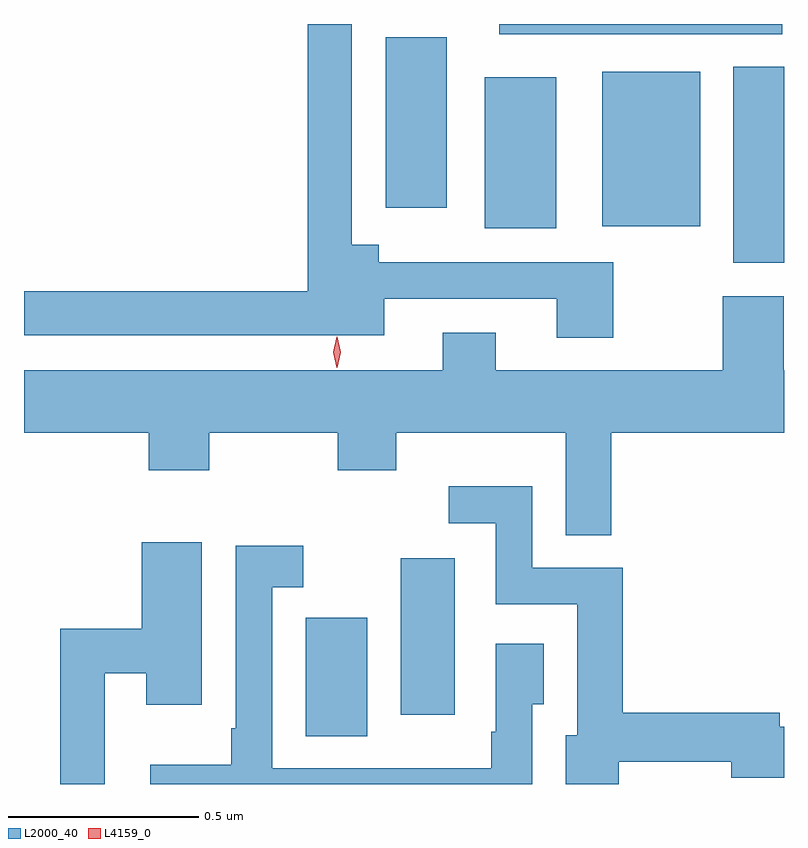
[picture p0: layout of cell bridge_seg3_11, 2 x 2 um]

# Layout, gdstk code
import gdstk
lib = gdstk.Library(unit=1e-6, precision=1e-09)
def R(c, l, rs):  # rectangles x0, y0, x1, y1
    for r in rs: c.add(gdstk.rectangle(r[:2], r[2:], *l))
def P(c, l, *ps):  # polygons
    for p in ps: c.add(gdstk.Polygon(p, *l))
L2000_40 = (2000, 40)
L4159_0 = (4159, 0)

bridge_seg3_11 = lib.new_cell('bridge_seg3_11')
R(bridge_seg3_11, L2000_40, [(687.035,710.773,687.196,711.084), (687.284,710.829,687.427,711.241), (688.16,712.019,688.293,712.535), (687.506,712.109,687.694,712.507), (687.815,712.115,688.072,712.522), (687.245,712.164,687.406,712.612), (687.543,712.62,688.288,712.647)])
P(bridge_seg3_11, L2000_40, [(687.843,712.02),(687.226,712.02),(687.226,712.066),(687.156,712.066),(687.156,712.647),(687.04,712.647),(687.04,711.944),(686.293,711.944),(686.293,711.828),(687.241,711.828),(687.241,711.924),(687.695,711.924),(687.695,711.822),(687.843,711.822)],
  [(687.838,711.572),(688.293,711.572),(688.293,711.736),(688.292,711.736),(688.292,711.931),(688.132,711.931),(688.132,711.736),(687.535,711.736),(687.535,711.835),(687.395,711.835),(687.395,711.736),(686.293,711.736),(686.293,711.572),(686.621,711.572),(686.621,711.473),(686.781,711.473),(686.781,711.572),(687.118,711.572),(687.118,711.473),(687.273,711.473),(687.273,711.572),(687.719,711.572),(687.719,711.301),(687.838,711.301)],
  [(687.858,710.706),(688.154,710.706),(688.154,710.663),(688.293,710.663),(688.293,710.798),(688.282,710.798),(688.282,710.834),(687.868,710.834),(687.868,711.216),(687.63,711.216),(687.63,711.43),(687.411,711.43),(687.411,711.333),(687.534,711.333),(687.534,711.12),(687.749,711.12),(687.749,710.775),(687.719,710.775),(687.719,710.647),(687.858,710.647)],
  [(686.505,710.938),(686.615,710.938),(686.615,710.856),(686.761,710.856),(686.761,711.283),(686.603,711.283),(686.603,711.056),(686.389,711.056),(686.389,710.647),(686.505,710.647)],
  [(687.63,710.857),(687.661,710.857),(687.661,711.016),(687.534,711.016),(687.534,710.785),(687.522,710.785),(687.522,710.689),(687.292,710.689),(687.292,710.688),(686.946,710.688),(686.946,711.165),(687.028,711.165),(687.028,711.274),(686.85,711.274),(686.85,710.794),(686.838,710.794),(686.838,710.698),(686.625,710.698),(686.625,710.647),(687.63,710.647)])
P(bridge_seg3_11, L4159_0, [(687.116,711.742),(687.107,711.783),(687.116,711.824),(687.117,711.824),(687.117,711.824),(687.127,711.783),(687.117,711.742),(687.117,711.742)])

lib.write_gds('bridge_seg3_11.gds')
